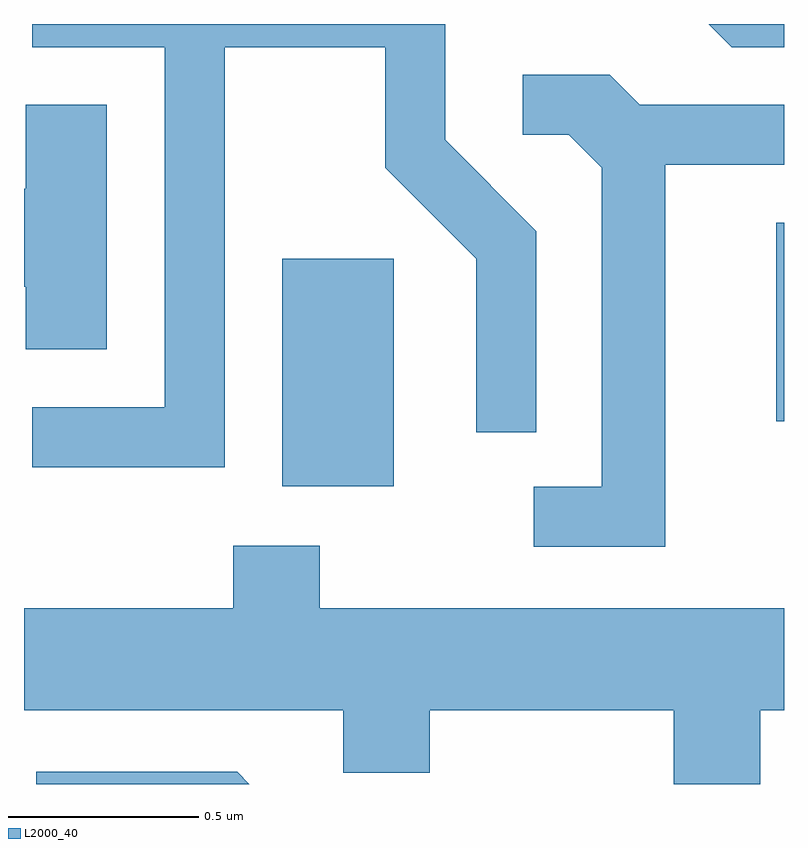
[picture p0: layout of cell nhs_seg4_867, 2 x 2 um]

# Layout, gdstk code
import gdstk
lib = gdstk.Library(unit=1e-6, precision=1e-09)
def R(c, l, rs):  # rectangles x0, y0, x1, y1
    for r in rs: c.add(gdstk.rectangle(r[:2], r[2:], *l))
def P(c, l, *ps):  # polygons
    for p in ps: c.add(gdstk.Polygon(p, *l))
L2000_40 = (2000, 40)

nhs_seg4_867 = lib.new_cell('nhs_seg4_867')
R(nhs_seg4_867, L2000_40, [(192.291,1299.766,192.584,1300.364), (193.591,1299.936,193.611,1300.459)])
P(nhs_seg4_867, L2000_40, [(192.139,1300.921),(192.561,1300.921),(192.561,1300.604),(192.801,1300.364),(192.801,1299.908),(192.959,1299.908),(192.959,1300.437),(192.719,1300.677),(192.719,1300.982),(191.633,1300.982),(191.633,1300.921),(191.981,1300.921),(191.981,1299.974),(191.633,1299.974),(191.633,1299.816),(192.139,1299.816)],
  [(193.611,1300.982),(193.413,1300.982),(193.474,1300.921),(193.611,1300.921)],
  [(193.299,1300.611),(193.611,1300.611),(193.611,1300.769),(193.232,1300.769),(193.152,1300.849),(192.923,1300.849),(192.923,1300.691),(193.044,1300.691),(193.131,1300.604),(193.131,1299.764),(192.953,1299.764),(192.953,1299.606),(193.299,1299.606)],
  [(191.829,1300.769),(191.616,1300.769),(191.616,1300.549),(191.611,1300.549),(191.611,1300.291),(191.616,1300.291),(191.616,1300.126),(191.829,1300.126)],
  [(193.549,1299.176),(193.611,1299.176),(193.611,1299.444),(192.389,1299.444),(192.389,1299.609),(192.161,1299.609),(192.161,1299.444),(191.611,1299.444),(191.611,1299.176),(192.451,1299.176),(192.451,1299.011),(192.679,1299.011),(192.679,1299.176),(193.321,1299.176),(193.321,1298.982),(193.549,1298.982)],
  [(192.172,1299.014),(191.643,1299.014),(191.643,1298.982),(192.204,1298.982)])

lib.write_gds('nhs_seg4_867.gds')
